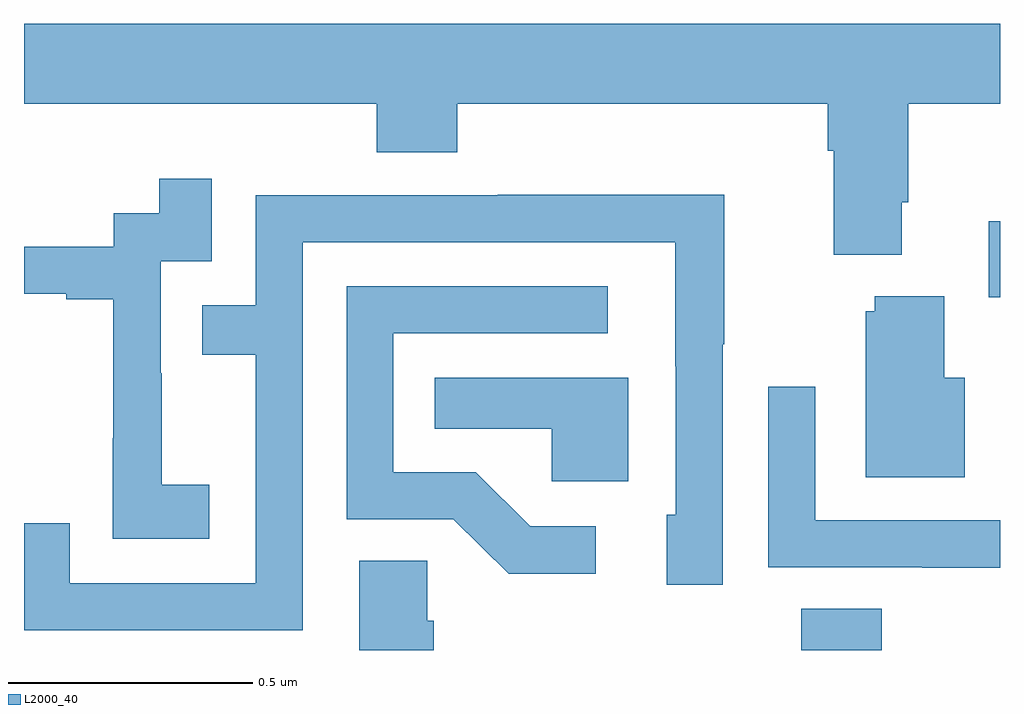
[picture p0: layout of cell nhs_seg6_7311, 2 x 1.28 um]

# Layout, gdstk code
import gdstk
lib = gdstk.Library(unit=1e-6, precision=1e-09)
def R(c, l, rs):  # rectangles x0, y0, x1, y1
    for r in rs: c.add(gdstk.rectangle(r[:2], r[2:], *l))
def P(c, l, *ps):  # polygons
    for p in ps: c.add(gdstk.Polygon(p, *l))
L2000_40 = (2000, 40)

nhs_seg6_7311 = lib.new_cell('nhs_seg6_7311')
R(nhs_seg6_7311, L2000_40, [(207.593,995.5,207.758,995.585), (207.977,996.223,208,996.379)])
P(nhs_seg6_7311, L2000_40, [(207.799,996.418),(207.812,996.418),(207.812,996.62),(208,996.62),(208,996.784),(206,996.784),(206,996.62),(206.723,996.62),(206.723,996.521),(206.888,996.521),(206.888,996.62),(207.647,996.62),(207.647,996.524),(207.659,996.524),(207.659,996.311),(207.799,996.311)],
  [(206.38,995.839),(206.282,995.839),(206.282,996.068),(206.28,996.068),(206.28,996.297),(206.385,996.297),(206.385,996.466),(206.277,996.466),(206.277,996.396),(206.184,996.396),(206.184,996.327),(206,996.327),(206,996.231),(206.087,996.231),(206.087,996.219),(206.183,996.219),(206.183,995.935),(206.182,995.935),(206.182,995.729),(206.38,995.729)],
  [(206.571,996.336),(207.335,996.336),(207.335,996.082),(207.336,996.082),(207.336,995.778),(207.317,995.778),(207.317,995.634),(207.432,995.634),(207.432,996.127),(207.435,996.127),(207.435,996.434),(206.971,996.434),(206.971,996.432),(206.475,996.432),(206.475,996.207),(206.365,996.207),(206.365,996.106),(206.475,996.106),(206.475,995.637),(206.094,995.637),(206.094,995.76),(206,995.76),(206,995.541),(206.571,995.541)],
  [(207.172,995.754),(207.037,995.754),(206.926,995.865),(206.757,995.865),(206.757,996.15),(207.196,996.15),(207.196,996.246),(206.661,996.246),(206.661,995.769),(206.88,995.769),(206.993,995.657),(207.172,995.657)],
  [(207.928,996.058),(207.886,996.058),(207.886,996.226),(207.743,996.226),(207.743,996.195),(207.725,996.195),(207.725,995.855),(207.928,995.855)],
  [(207.238,996.058),(206.842,996.058),(206.842,995.954),(207.081,995.954),(207.081,995.846),(207.238,995.846)],
  [(208,995.766),(207.621,995.766),(207.621,996.04),(207.525,996.04),(207.525,995.67),(207.841,995.67),(207.841,995.669),(208,995.669)],
  [(206.84,995.561),(206.826,995.561),(206.826,995.684),(206.687,995.684),(206.687,995.5),(206.84,995.5)])

lib.write_gds('nhs_seg6_7311.gds')
